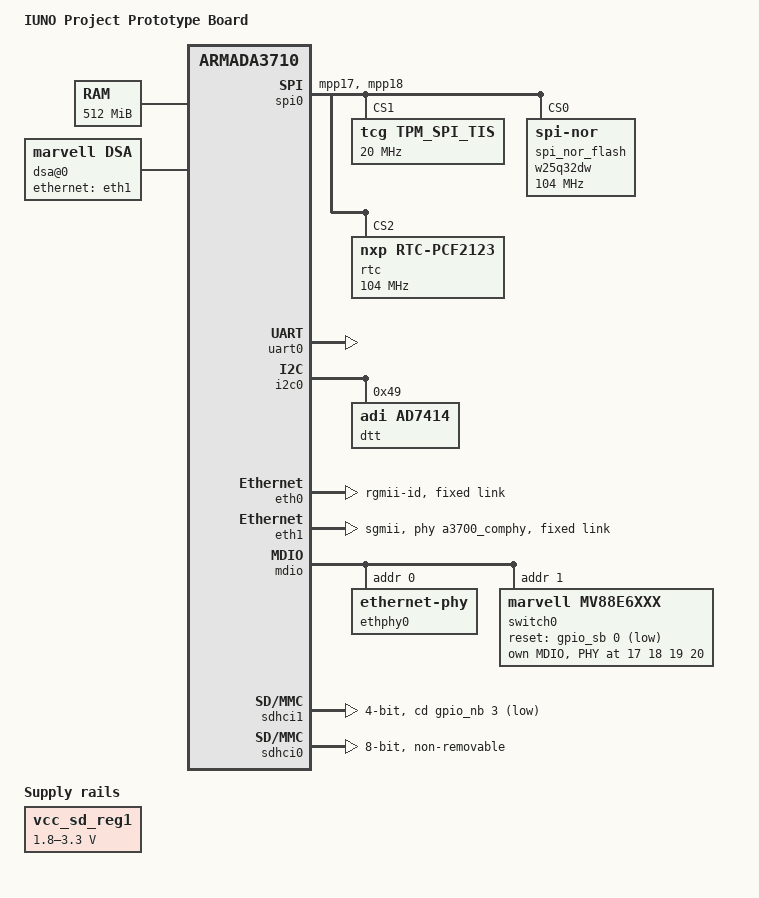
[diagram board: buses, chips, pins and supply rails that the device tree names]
/*
 * Device Tree file for IUNO Prototype Board
 * Copyright (C) 2018 Phoenix Contact
 *
 * based on DTS file for Espressobin Board ((C) by Marvell)
 *
 * This file is dual-licensed: you can use it either under the terms
 * of the GPL or the X11 license, at your option. Note that this dual
 * licensing only applies to this file, and not this project as a
 * whole.
 *
 *  a) This file is free software; you can redistribute it and/or
 *     modify it under the terms of the GNU General Public License as
 *     published by the Free Software Foundation; either version 2 of the
 *     License, or (at your option) any later version.
 *
 *     This file is distributed in the hope that it will be useful
 *     but WITHOUT ANY WARRANTY; without even the implied warranty of
 *     MERCHANTABILITY or FITNESS FOR A PARTICULAR PURPOSE.  See the
 *     GNU General Public License for more details.
 *
 * Or, alternatively
 *
 *  b) Permission is hereby granted, free of charge, to any person
 *     obtaining a copy of this software and associated documentation
 *     files (the "Software"), to deal in the Software without
 *     restriction, including without limitation the rights to use
 *     copy, modify, merge, publish, distribute, sublicense, and/or
 *     sell copies of the Software, and to permit persons to whom the
 *     Software is furnished to do so, subject to the following
 *     conditions:
 *
 *     The above copyright notice and this permission notice shall be
 *     included in all copies or substantial portions of the Software.
 *
 *     THE SOFTWARE IS PROVIDED , WITHOUT WARRANTY OF ANY KIND
 *     EXPRESS OR IMPLIED, INCLUDING BUT NOT LIMITED TO THE WARRANTIES
 *     OF MERCHANTABILITY, FITNESS FOR A PARTICULAR PURPOSE AND
 *     NONINFRINGEMENT. IN NO EVENT SHALL THE AUTHORS OR COPYRIGHT
 *     HOLDERS BE LIABLE FOR ANY CLAIM, DAMAGES OR OTHER LIABILITY
 *     WHETHER IN AN ACTION OF CONTRACT, TORT OR OTHERWISE, ARISING
 *     FROM, OUT OF OR IN CONNECTION WITH THE SOFTWARE OR THE USE OR
 *     OTHER DEALINGS IN THE SOFTWARE.
 */

/dts-v1/;

#include "armada-372x.dtsi"

/ {
	model = "IUNO Project Prototype Board";
	compatible = "marvell,iuno-prototype", "marvell, armada-3720-community", "marvell,armada3720", "marvell,armada3710";

	chosen {
		/* bootargs needs to be checked for IUNO Prototype Board */
		bootargs = "console=ttyMV0,115200 earlycon=ar3700_uart,0xd0012000 root=/dev/mmcblk0p1 rw rootwait net.ifnames=0 biosdevname=0";
		stdout-path = "serial0:115200n8";
	};

	memory {
		device_type = "memory";
		reg = <0x00000000 0x00000000 0x00000000 0x20000000>;
	};

	soc {
		internal-regs {
			npinctrl: north-bridge-pinctrl@13830 {
				spi0_pins_1: spi-pins-1 {
					marvell,pins = "mpp17";
					marvell,function = "spi-cs1";
				};
				spi0_pins_2: spi-pins-2 {
					marvell,pins = "mpp18";
					marvell,function = "spi-cs2";
				};
			};
			
			spi0: spi@10600 {
				status = "okay";
				pinctrl-names = "default";
				pinctrl-0 = <&spi0_pins &spi_quad_pins &spi0_pins_1 &spi0_pins_2>;

				tpm_spi_tis@1{
					compatible = "tcg,tpm_spi_tis";
					reg = <1>;	/* Chip Select 1 */
					spi-max-frequency = <20000000>;
				};

				spi_nor_flash: w25q32dw@0 {
					#address-cells = <0x1>;
					#size-cells = <0x1>;
					compatible = "jedec,spi-nor", "st,mp25p128", "spi-flash";
					reg = <0>;      /* Chip Select 0 */
					spi-max-frequency = <0x632ea00>;
					m25p,fast-read;
				};

				rtc: pcf2123@0 {
					#address-cells = <0x1>;
					#size-cells = <0x1>;
					compatible = "nxp,rtc-pcf2123";
					reg = <2>;
					/* spi-max-frequency = <0x5f5e10>; */
					/* spi-cs-high; */
					spi-max-frequency = <104000000>;
				};
			};
			
			uart0: serial@12000 {
				status = "okay";
			};

			i2c0: i2c@11000 {
				status = "okay";
				
				dtt@49 {
					compatible = "adi,ad7414";
					reg = <0x49>;
				};

				/* PCIe switch still to be added here */
			};

			i2c1: i2c@11080 {
				status = "disabled";
			};

			reg_avs: avs@11500 {
				status = "okay";
			};

			eth0: ethernet@30000 {
				phy-mode = "rgmii-id";
				status = "okay";
				buffer-manager = <&bm>;
				bm,pool-long = <1>;
				bm,pool-short = <3>;
				fixed-link {
					speed = <1000>;
					full-duplex;
				};
			};
			
			eth1: ethernet@40000 {
				phy-mode = "sgmii";
				phys = <&a3700_comphy 0 COMPHY_SGMII0>;
				phy-names = "comphy"; 
				status = "okay";
				buffer-manager = <&bm>;
				bm,pool-long = <1>;
				bm,pool-short = <3>;
				fixed-link {
					/* Here "speed" is set to 1000, GBE MAC is running in 1G mode, */
					/* but the actual MAC speed may be 1 Gbps or 2.5 Gbps, */
					/* it's up to the corresponding SERDES speed in u-boot fdt comphy node. */
					/* If SERDES speed is set to 3.125G in u-boot, it implies sgmii 2.5 Gbps; */
					/* if SERDES speed is set to 1.25G in u-boot, it implies sgmii 1 Gbps. */
					speed = <1000>;
					full-duplex;
				};
			};

			mdio: mdio@32004 {
				ethphy0: ethernet-phy@1 {
					reg = <0x0>;
						
				};

				switch0: switch@1 {
					compatible = "marvell,mv88e6xxx";
					reg = <0x01>; /* PHY addr of switch */
					reset-delay-us = <20000>;
					reset-gpios = <&gpio_sb 0 GPIO_ACTIVE_LOW>;
					cpu-port = <0x5>;
					port-mask = <0x3ff>;
					dsa,member = <0x0 0x0>;

					mdio@0 {
						#address-cells = <1>;
						#size-cells = <0>;

						phy1: phy1@1 {
							reg = <17>;
						};
						phy2: phy2@2 {
							reg = <18>;
						};
						phy3: phy3@3 {
							reg = <19>;
						};
						phy4: phy4@4 {
							reg = <20>;
						};
					};
				};
			};

			u3d@50000 {
				status = "disabled";
				phys = <&a3700_comphy 0 COMPHY_USB3>;
				phy-names = "usb";
			};

			udc@54100 {
				status = "disabled";
				phys = <&utmi_usb32>;
				phy-names = "usb";
			};

			/* neither USB3 nor USB2 used for IUNO Prototype Board */
			usb3@58000 {
				compatible = "generic-xhci";
				status = "disabled";
				/* USB3 not used for IUNO Prototype Board */
			};

			usb@5e000 {
				status = "disabled";
				phys = <&utmi_usb2>;
				phy-names = "usb";
			};

			utmi_usb32: utmi@5d000 {
				status = "disabled";
			};

			utmi_usb2: utmi@5f000 {
				status = "disabled";
			};

			sdhci1: sdhci@d0000 {
				wp-inverted;
				bus-width = <4>;
				cd-gpios = <&gpio_nb 3 GPIO_ACTIVE_LOW>;
				/* change needed here vs. Espressobin ? */
				/* no-1-8-v;
				vqmmc-supply = <&vcc_sd_reg1>; */
				marvell,pad-type = "sd";
				status = "okay";

				pinctrl-names = "default";
				pinctrl-0 = <&sdio_pins &cd_pins>;
			};
	
			/* internal fixed mmc */
			sdhci0: sdhci@d8000 {
				non-removable;
				bus-width = <0x8>;
				mmc-ddr-1_8v;
				mmc-hs400-1_8v;
				marvell,pad-type = "fixed-1-8v";
				status = "okay";
			};
	
			/* no sata interface for IUNO Prototype Board
			sata@e0000 {
				phys = <&a3700_comphy 2 COMPHY_SATA0>;
				status = "okay";
			}; */

			vcc_sd_reg1: regulator@0 {
				compatible = "regulator-gpio";
				regulator-name = "vcc_sd1";
				regulator-min-microvolt = <1800000>;
				regulator-max-microvolt = <3300000>;
				regulator-boot-on;

				gpios = <&gpio_nb 4 GPIO_ACTIVE_HIGH>;
				gpios-states = <0>;
				states = <1800000 0x1
					  3300000 0x0>;

				enable-active-high;
			};

			eip97: eip97@90000 {
				status = "okay";
			};
		};
	};
	dsa@0 {
		compatible = "marvell,dsa";
		dsa,ethernet = <&eth1>;
		dsa,mii-bus = <&mdio>;
		#address-cells = <2>;
		#size-cells = <0>;

		switch@1 {
				#address-cells = <1>;
				#size-cells = <0>;
				reg = <1 0>;
				cpu-port = <0x5>;
				port-mask = <0x3ff>;
				dsa,member = <0x0 0x0>;
	
				port@1 {
						reg = <1>;
						label = "wan";
						phy-handle = <&phy1>;
				};

				port@2 {
						reg = <2>;
						label = "lan0";
						phy-handle = <&phy2>;
				};

				port@3 {
						reg = <3>;
						label = "lan1";
						phy-handle = <&phy3>;
				};
				
				port@4 {
						reg = <4>;
						label = "lan2";
						phy-handle = <&phy4>;
				};
				
				port@5 {
						reg = <5>;
						label = "cpu";
						ethernet = <&eth1>;
				};
		};
	};
};

/*
&pcie0 {
	status = "okay";
	phys = <&a3700_comphy 1 COMPHY_PCIE0>;
	phy-names = "comphy";
	reset-gpios = <&gpio_sb 3 GPIO_ACTIVE_HIGH>;
}; */
